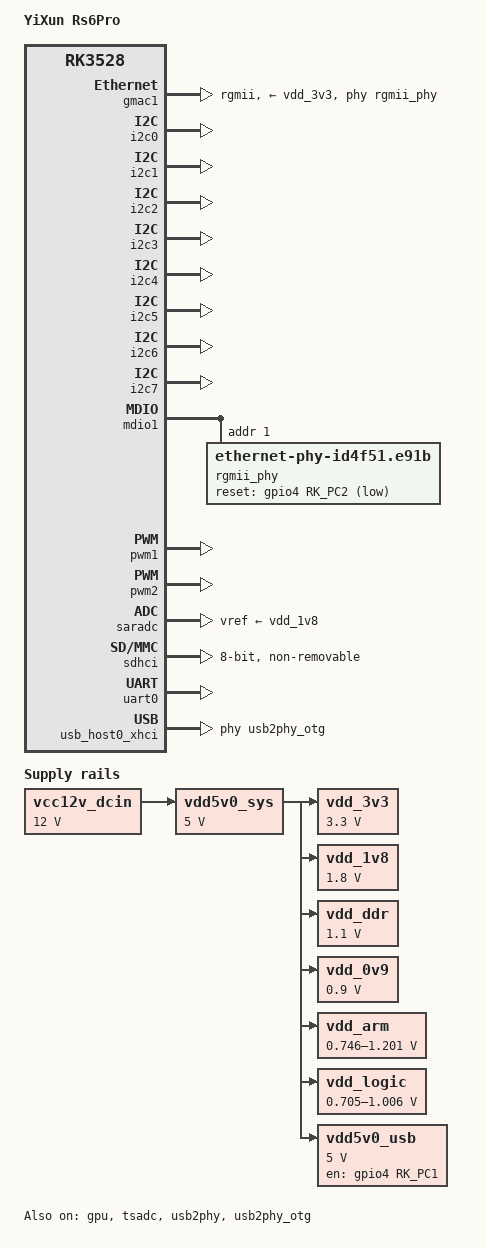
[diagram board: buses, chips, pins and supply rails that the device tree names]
// SPDX-License-Identifier: (GPL-2.0+ OR MIT)
/*
 * Copyright (c) 2022 Rockchip Electronics Co., Ltd.
 * Copyright (c) 2025 flippy <flippy@sina.com>
 */

/dts-v1/;

#include <dt-bindings/input/input.h>
#include <dt-bindings/leds/common.h>
#include <dt-bindings/pwm/pwm.h>
#include "rk3528.dtsi"
#include "rk3528-op-pwm.dtsi"

/ {
	model = "YiXun Rs6Pro";
	compatible = "yixun,rs6pro", "rockchip,rk3528";

	aliases {
		ethernet0 = &gmac1;
		mmc0 = &sdhci;
	};

	chosen: chosen {
		stdout-path = "serial0:1500000n8";
	};

	reserved_memory: reserved-memory {
		#address-cells = <2>;
		#size-cells = <2>;
		ranges;

		cmd: cma {
			compatible = "shared-dma-pool";
			reusable;
			size = <0x00 0x04000000>;
			linux,cma-default;
		};

		ramoops: ramoops@110000 {
			compatible = "ramoops";
			/* 0x110000 to 0x1f0000 is for ramoops */
			reg = <0x0 0x110000 0x0 0xe0000>;
			boot-log-size = <0x8000>;	/* do not change */
			boot-log-count = <0x1>;		/* do not change */
			console-size = <0x80000>;
			pmsg-size = <0x30000>;
			ftrace-size = <0x00000>;
			record-size = <0x14000>;
		};
	};

	vcc12v_dcin: regulator-vcc12v-dcin {
		compatible = "regulator-fixed";
		regulator-name = "vcc12v_dcin";
		regulator-always-on;
		regulator-boot-on;
		regulator-min-microvolt = <12000000>;
		regulator-max-microvolt = <12000000>;
	};

	vdd5v0_sys: regulator-vdd5v0-sys {
		compatible = "regulator-fixed";
		regulator-name = "vdd5v0_sys";
		regulator-always-on;
		regulator-boot-on;
		regulator-min-microvolt = <5000000>;
		regulator-max-microvolt = <5000000>;
		vin-supply = <&vcc12v_dcin>;
	};

	vdd_3v3: regulator-vdd-3v3 {
		compatible = "regulator-fixed";
		regulator-name = "vdd_3v3";
		regulator-always-on;
		regulator-boot-on;
		regulator-min-microvolt = <3300000>;
		regulator-max-microvolt = <3300000>;
		vin-supply = <&vdd5v0_sys>;
	};

	vdd_1v8: regulator-vdd-1v8 {
		compatible = "regulator-fixed";
		regulator-name = "vdd_1v8";
		regulator-always-on;
		regulator-boot-on;
		regulator-min-microvolt = <1800000>;
		regulator-max-microvolt = <1800000>;
		vin-supply = <&vdd5v0_sys>;
	};

	vdd_ddr: regulator-vdd-ddr {
		compatible = "regulator-fixed";
		regulator-name = "vdd_ddr";
		regulator-always-on;
		regulator-boot-on;
		regulator-min-microvolt = <1100000>;
		regulator-max-microvolt = <1100000>;
		vin-supply = <&vdd5v0_sys>;
	};

	vdd_0v9: regulator-vdd-0v9 {
		compatible = "regulator-fixed";
		regulator-name = "vdd_0v9";
		regulator-always-on;
		regulator-boot-on;
		regulator-min-microvolt = <900000>;
		regulator-max-microvolt = <900000>;
		vin-supply = <&vdd5v0_sys>;
	};

	vdd_arm: regulator-vdd-arm {
		compatible = "pwm-regulator";
		pwms = <&pwm1 0 5000 PWM_POLARITY_INVERTED>;
		regulator-always-on;
		regulator-boot-on;
		regulator-init-microvolt = <953000>;
		regulator-min-microvolt = <746000>;
		regulator-max-microvolt = <1201000>;
		regulator-name = "vdd_arm";
		regulator-settling-time-up-us = <250>;
		pwm-supply = <&vdd5v0_sys>;
		status = "okay";
	};

	vdd_logic: regulator-vdd-logic {
		compatible = "pwm-regulator";
		pwms = <&pwm2 0 5000 PWM_POLARITY_INVERTED>;
		regulator-always-on;
		regulator-boot-on;
		regulator-init-microvolt = <950000>;
		regulator-min-microvolt = <705000>;
		regulator-max-microvolt = <1006000>;
		regulator-name = "vdd_logic";
		regulator-settling-time-up-us = <250>;
		pwm-supply = <&vdd5v0_sys>;
		status = "okay";
	};

	vdd5v0_usb: regulator-vdd5v0-usb {
		compatible = "regulator-fixed";
		enable-active-high;
		gpio = <&gpio4 RK_PC1 GPIO_ACTIVE_HIGH>;
		pinctrl-names = "default";
		pinctrl-0 = <&vdd5v0_usb_en>;
		regulator-always-on;
		regulator-boot-on;
		regulator-name = "vdd5v0_usb";
		regulator-min-microvolt = <5000000>;
		regulator-max-microvolt = <5000000>;
		vin-supply = <&vdd5v0_sys>;
	};
};

&cpu0 {
	cpu-supply = <&vdd_arm>;
};

&cpu1 {
	cpu-supply = <&vdd_arm>;
};

&cpu2 {
	cpu-supply = <&vdd_arm>;
};

&cpu3 {
	cpu-supply = <&vdd_arm>;
};

&gmac1 {
	/delete-property/ snps,tso;
	clock_in_out = "output";
	phy-handle = <&rgmii_phy>;
	phy-mode = "rgmii";
	phy-supply = <&vdd_3v3>;

	pinctrl-names = "default";
	pinctrl-0 = <&rgmii_miim>, <&rgmii_tx_bus2>, <&rgmii_rx_bus2>,
		    <&rgmii_rgmii_clk>, <&rgmii_rgmii_bus>, <&eth_pins>;

	tx_delay = <0x2c>;
	rx_delay = <0x16>;

	status = "okay";
};

&gpu {
	mali-supply = <&vdd_logic>;
	status = "okay";
};

&i2c0 {
	pinctrl-names = "default";
	pinctrl-0 = <&i2c0m1_xfer>;
	status = "okay";
};

&i2c1 {
	pinctrl-names = "default";
	pinctrl-0 = <&i2c1m0_xfer>;
	status = "okay";
};

&i2c2 {
	pinctrl-names = "default";
	pinctrl-0 = <&i2c2m1_xfer>;
	status = "okay";
};

&i2c3 {
	pinctrl-names = "default";
	pinctrl-0 = <&i2c3m0_xfer>;
	status = "okay";
};

&i2c4 {
	pinctrl-names = "default";
	pinctrl-0 = <&i2c4_xfer>;
	status = "okay";
};

&i2c5 {
	pinctrl-names = "default";
	pinctrl-0 = <&i2c5m0_xfer>;
	status = "okay";
};

/* OLED SSD1306 */
&i2c6 {
	pinctrl-names = "default";
	pinctrl-0 = <&i2c6m0_xfer>;
	status = "okay";
};

&i2c7 {
	pinctrl-names = "default";
	pinctrl-0 = <&i2c7_xfer>;
	status = "okay";
};

&mdio1 {
	rgmii_phy: ethernet-phy@1 {
		/* Motorcomm YT8531 (phy_id: 0x4f51e91b) */
		compatible = "ethernet-phy-id4f51.e91b";
		reg = <0x1>;

		pinctrl-names = "default";
		pinctrl-0 = <&gmac1_reset_l>;

		reset-assert-us = <20000>;
		reset-deassert-us = <100000>;
		reset-gpios = <&gpio4 RK_PC2 GPIO_ACTIVE_LOW>;
	};
};

&pinctrl {
	gmac {
		gmac1_reset_l: gmac1-reset-l {
			rockchip,pins = <4 RK_PC2 RK_FUNC_GPIO &pcfg_pull_none>;
		};
	};
	
	usb {
		vdd5v0_usb_en: vdd5v0-usb-en {
			rockchip,pins = <4 RK_PC1 RK_FUNC_GPIO &pcfg_pull_none>;
		};
	};
};

&pwm1 {
	pinctrl-names = "default";
	pinctrl-0 = <&pwm1m0_pins>;
	status = "okay";
};

&pwm2 {
	pinctrl-names = "default";
	pinctrl-0 = <&pwm2m0_pins>;
	status = "okay";
};

&saradc {
	status = "okay";
	vref-supply = <&vdd_1v8>;
};

&sdhci {
	bus-width = <8>;
	cap-mmc-highspeed;
	mmc-hs200-1_8v;
	no-sd;
	no-sdio;
	non-removable;
	pinctrl-names = "default";
	pinctrl-0 = <&emmc_clk>, <&emmc_cmd>,  <&emmc_strb>, <&emmc_bus8>;
	status = "okay";
};

&tsadc {
	status = "okay";
};

&usb2phy {
	status = "okay";
};

&usb2phy_host {
	status = "disabled";
};

&usb2phy_otg {
	status = "okay";
};

&uart0 {
	pinctrl-names = "default";
	pinctrl-0 = <&uart0m0_xfer>;
	status = "okay";
};

&usb_host0_ehci {
	status = "disabled";
};

&usb_host0_ohci {
	status = "disabled";
};

&usb_host0_xhci {
	extcon = <&usb2phy>;
	maximum-speed = "high-speed";
	phys = <&usb2phy_otg>;
	phy-names = "usb2-phy";
	status = "okay";
};
